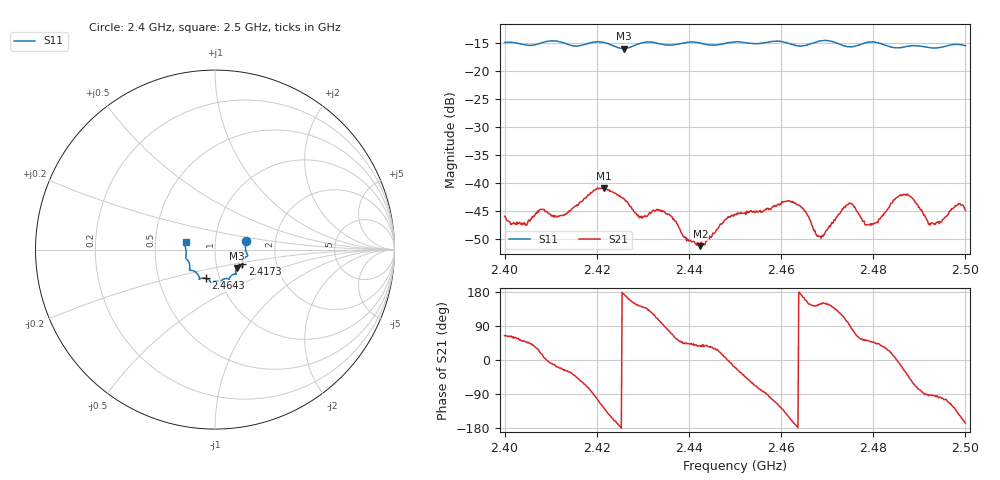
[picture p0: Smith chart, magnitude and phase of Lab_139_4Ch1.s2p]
# Hz S RI R 50
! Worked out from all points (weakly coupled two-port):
!   601 points, 2.4 GHz to 2.5 GHz, reference 50 ohm
!   highest |S21| = -40.84 dB at 2.4215 GHz (marker M1); lowest = -51.3 dB at 2.4425 GHz (marker M2)
!   lowest |S11| = -15.9 dB at 2.4258 GHz (marker M3), VSWR 1.38, Z = 62.2 - j13.3 ohm
!   |S11| at or under -10 dB: start of sweep to end of sweep
!   S12 and S22 are empty: the file has one direction only
!   S11 on the Smith chart (normalised r, x): 2.4 GHz: 1.41, +0.14; 2.4173 GHz: 1.34, -0.23; 2.4643 GHz: 0.86, -0.28; 2.5 GHz: 0.72, +0.06
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2.4e9  0.1738 0.0493  0.00222 0.00455  0 0  0 0
2.404333e9  0.1707 0.0209  0.00288 0.00338  0 0  0 0
2.408e9  0.1778 -0.0213  0.0056 0.00162  0 0  0 0
2.411833e9  0.1806 -0.036  0.00473 -0.00182  0 0  0 0
2.416667e9  0.1529 -0.0746  0.00374 -0.0057  0 0  0 0
2.417333e9  0.1522 -0.0821  0.00329 -0.00654  0 0  0 0
2.4215e9  0.1535 -0.0957  -0.00536 -0.00733  0 0  0 0
2.425833e9  0.121 -0.1038  -0.00732 0.000678  0 0  0 0
2.429333e9  0.1163 -0.1332  -0.00389 0.00299  0 0  0 0
2.433333e9  0.1127 -0.1365  -0.00165 0.00546  0 0  0 0
2.4425e9  0.0723 -0.1627  0.0022 0.00162  0 0  0 0
2.45e9  0.0292 -0.1807  0.00489 -0.00181  0 0  0 0
2.464333e9  -0.0502 -0.1603  -0.00611 0.000761  0 0  0 0
2.466667e9  -0.0763 -0.1595  -0.00343 0.00243  0 0  0 0
2.468667e9  -0.087 -0.1656  -0.00273 0.00172  0 0  0 0
2.474667e9  -0.1031 -0.1291  -0.000617 0.00658  0 0  0 0
2.478833e9  -0.1399 -0.1156  0.00266 0.00334  0 0  0 0
2.483333e9  -0.1407 -0.0898  0.00547 0.00254  0 0  0 0
2.487833e9  -0.1596 -0.0519  0.00519 -0.00566  0 0  0 0
2.4925e9  -0.1606 -0.0197  -0.000265 -0.00439  0 0  0 0
2.498333e9  -0.1704 0.0329  -0.00489 -0.00411  0 0  0 0
2.5e9  -0.1637 0.0417  -0.00554 -0.00138  0 0  0 0
